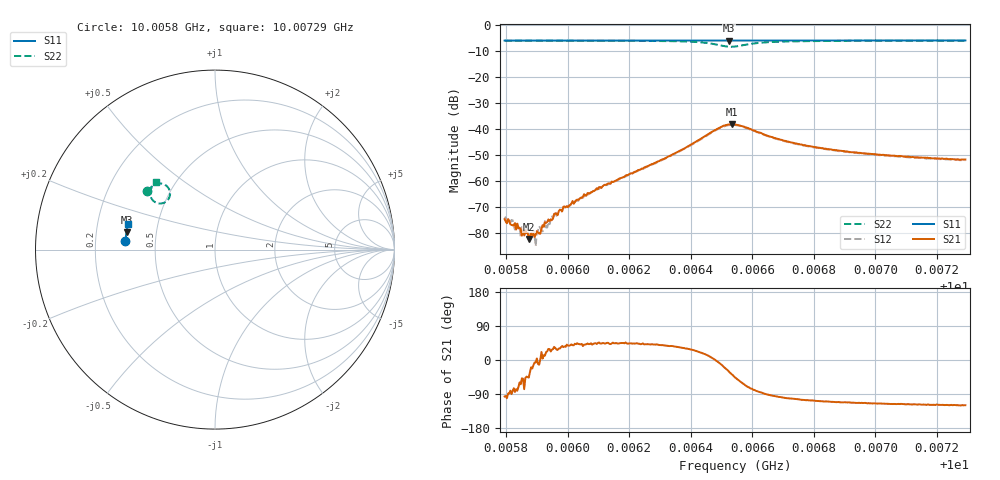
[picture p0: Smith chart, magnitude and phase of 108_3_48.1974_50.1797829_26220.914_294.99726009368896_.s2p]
#  HZ  S  RI  R  50.00
! Rohde & Schwarz Vector Network Analyzer
! Rohde-Schwarz,ZNB20-2Port,1311601062101988,3.16
! Created: UTC 3/20/2024, 11:40:53 AM
! freq[Hz]  re:S11  im:S11  re:S21  im:S21  re:S12  im:S12  re:S22  im:S22
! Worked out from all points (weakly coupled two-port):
!   401 points, 10.0058 GHz to 10.00729 GHz, reference 50 ohm
!   highest |S21| = -38.11 dB at 10.00653 GHz (marker M1); lowest = -82.2 dB at 10.00587 GHz (marker M2)
!   lowest |S11| = -6.0 dB at 10.00653 GHz (marker M3), VSWR 3.01, Z = 16.8 + j4.29 ohm
!   |S11| at or under -10 dB: nowhere
!   |S22| runs from -8.4 to -6.0 dB; largest |S21 - S12| = 0.00089
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1.0005795e10  -0.4988 0.0493  -2.07e-05 -0.000186  1.28e-05 -0.000205  -0.3767 0.3253
1.0005806e10  -0.4988 0.0499  4.8e-06 -0.000187  3.29e-05 -0.000156  -0.3762 0.3259
1.0005844e10  -0.4986 0.0525  6.53e-05 -0.00011  5.09e-05 -0.000122  -0.3743 0.3282
1.0005855e10  -0.4985 0.0532  7.55e-05 -8.86e-05  6.87e-05 -6.75e-05  -0.3737 0.329
1.0005874e10  -0.4983 0.0545  5.39e-05 -5.63e-05  7.17e-05 -4.62e-05  -0.3725 0.33
1.0005889e10  -0.4983 0.0554  9.45e-05 -2.32e-05  9.86e-05 -5.53e-05  -0.3717 0.3311
1.0005904e10  -0.4982 0.0564  0.000102 -1.91e-05  0.000111 -2.06e-05  -0.371 0.3322
1.0005937e10  -0.498 0.0586  0.000161 8.95e-05  0.000143 8.17e-05  -0.3689 0.3342
1.0005952e10  -0.4979 0.0596  0.000168 9.15e-05  0.00017 9.04e-05  -0.3681 0.3353
1.0005964e10  -0.4979 0.0602  0.000211 0.000111  0.000191 0.000101  -0.3675 0.3361
1.0006046e10  -0.4974 0.0656  0.000357 0.000327  0.000352 0.000334  -0.362 0.3418
1.0006113e10  -0.4968 0.07  0.000567 0.000556  0.000539 0.000572  -0.3569 0.3467
1.0006297e10  -0.4952 0.082  0.00187 0.00154  0.00176 0.0016  -0.3345 0.3623
1.0006443e10  -0.4935 0.0916  0.0068 0.002  0.00652 0.00229  -0.2804 0.3621
1.0006491e10  -0.4926 0.0942  0.0104 -0.00125  0.0102 -0.000716  -0.2516 0.3253
1.0006525e10  -0.4919 0.0958  0.0105 -0.00643  0.0105 -0.00563  -0.2613 0.2789
1.0006533e10  -0.492 0.0962  0.00989 -0.00753  0.00996 -0.0067  -0.2691 0.2704
1.0006544e10  -0.4921 0.0969  0.00855 -0.00884  0.00887 -0.008  -0.2834 0.2613
1.0006626e10  -0.4919 0.1021  0.000736 -0.00844  0.00106 -0.00815  -0.3544 0.286
1.0006794e10  -0.4903 0.1129  -0.00131 -0.00443  -0.00111 -0.00438  -0.3571 0.3361
1.0007045e10  -0.4869 0.1288  -0.00136 -0.0028  -0.00119 -0.00285  -0.3417 0.3623
1.0007292e10  -0.483 0.1445  -0.00128 -0.00227  -0.00115 -0.00225  -0.3279 0.3784
